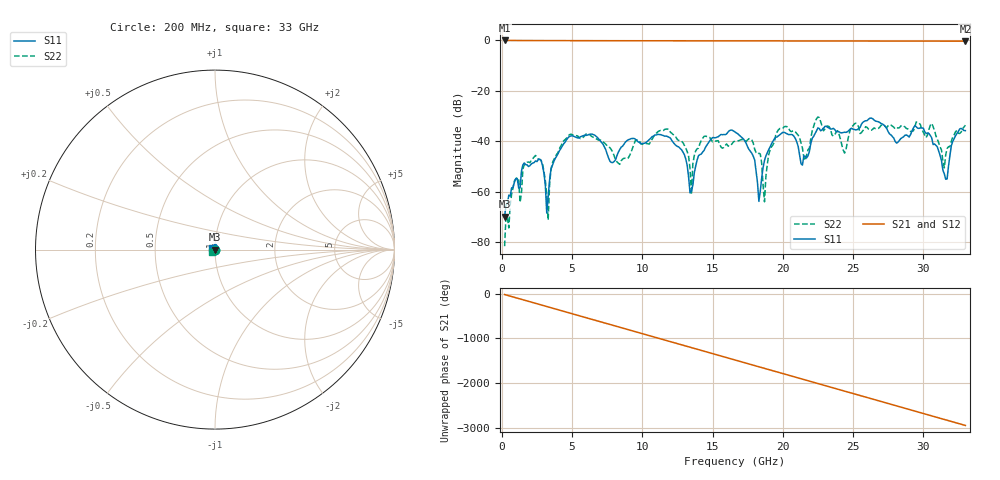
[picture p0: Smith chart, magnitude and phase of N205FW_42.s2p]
# GHZ S RI R 50
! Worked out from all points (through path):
!   329 points, 200 MHz to 33 GHz, reference 50 ohm
!   highest |S21| = -0.02 dB at 200 MHz (marker M1); lowest = -0.3 dB at 33 GHz (marker M2)
!   group delay of S21, straight-line fit = 248 ps
!   lowest |S11| = -69.7 dB at 200 MHz (marker M3), VSWR 1.00, Z = 50 - j0.0116 ohm
!   |S11| at or under -10 dB: start of sweep to end of sweep
!   |S22| runs from -81.5 to -30.3 dB; largest |S21 - S12| = 0.0022
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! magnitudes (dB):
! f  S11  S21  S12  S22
! 200 MHz  -69.7  0.0  0.0  -81.5
! 1.6 GHz  -48.5  0.0  0.0  -49.2
! 2.8 GHz  -47.5  -0.1  -0.1  -47.5
! 3.3 GHz  -61.9  -0.1  -0.1  -71.1
! 3.6 GHz  -49.4  -0.1  -0.1  -48.5
! 5.7 GHz  -37.9  -0.1  -0.1  -38.7
! 8.4 GHz  -43.1  -0.1  -0.1  -49.1
! 11.2 GHz  -37.3  -0.1  -0.1  -35.8
! 13 GHz  -45.2  -0.2  -0.2  -41.6
! 13.4 GHz  -60.3  -0.2  -0.2  -50.9
! 13.5 GHz  -59.7  -0.2  -0.2  -60.9
! 16.6 GHz  -36.2  -0.2  -0.2  -40.0
! 18 GHz  -47.3  -0.2  -0.2  -43.1
! 18.3 GHz  -63.7  -0.2  -0.2  -44.7
! 18.7 GHz  -47.5  -0.2  -0.2  -63.9
! 19.7 GHz  -37.8  -0.2  -0.2  -35.3
! 21.6 GHz  -45.8  -0.2  -0.2  -47.6
! 22.1 GHz  -38.7  -0.2  -0.2  -35.8
! 27.6 GHz  -37.0  -0.2  -0.2  -33.4
! 30 GHz  -34.7  -0.2  -0.2  -36.3
! 31.6 GHz  -55.0  -0.3  -0.2  -45.2
! 33 GHz  -35.7  -0.3  -0.3  -33.6
